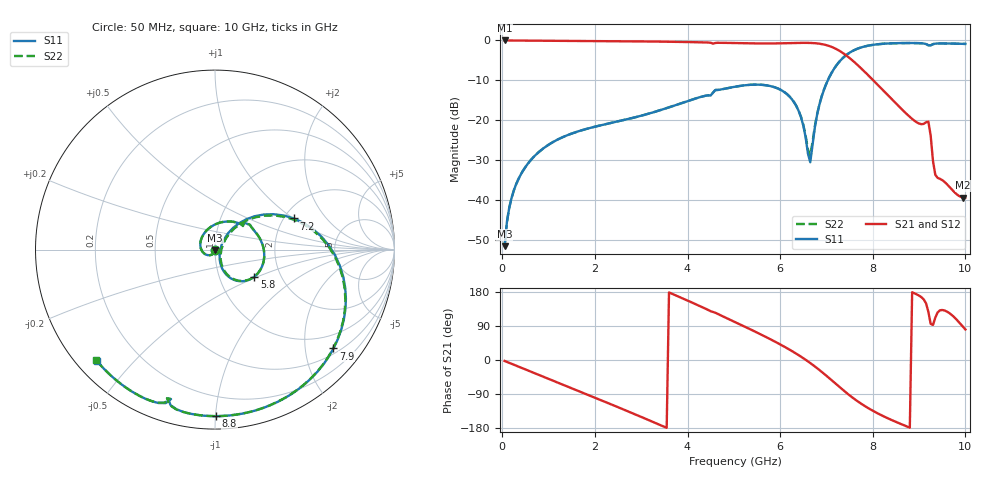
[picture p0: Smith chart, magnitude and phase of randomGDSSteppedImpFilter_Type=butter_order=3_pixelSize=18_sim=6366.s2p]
! freq	dB(S11)	phase(S11)	dB(S12)	phase(S12)
!  dB(S21)	phase(S21)	dB(S22)	phase(S22)
!S-par simulation data
#  GHz  S  DB  R 50
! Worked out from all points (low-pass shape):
!   200 points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, 50 MHz to 10 GHz, reference 50 ohm
!   highest |S21| = -0.01 dB at 50 MHz (marker M1); lowest = -39.5 dB at 9.95 GHz (marker M2)
!   |S21| within 3 dB of the highest: start of sweep to 7.335 GHz
!   lowest |S11| = -51.7 dB at 50 MHz (marker M3), VSWR 1.01, Z = 50 - j0.26 ohm
!   |S11| at or under -10 dB: start of sweep to 7.03 GHz
!   |S22| runs from -51.7 to -0.7 dB; largest |S21 - S12| = 0
!   S11 on the Smith chart (normalised r, x): 50 MHz: 1.00, -0.01; 5.8 GHz: 1.47, -0.48; 7.2 GHz: 2.26, +1.01; 7.9 GHz: 0.62, -2.63; 8.8 GHz: 0.08, -1.00; 10 GHz: 0.06, -0.40
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0.05  -51.67 -85.0  -0.01 -2.5  -0.01 -2.5  -51.67 -85.0
0.2  -39.56 -98.1  -0.02 -10.0  -0.02 -10.0  -39.56 -98.1
0.5  -31.78 -114.8  -0.04 -24.8  -0.04 -24.8  -31.78 -114.7
1.75  -22.44 -178.7  -0.13 -86.8  -0.13 -86.8  -22.44 -178.6
2.5  -20.33 143.0  -0.19 -124.6  -0.19 -124.6  -20.33 143.3
3.4  -17.55 96.5  -0.30 -171.1  -0.30 -171.1  -17.55 96.9
4.15  -14.67 57.0  -0.44 148.7  -0.44 148.7  -14.67 57.3
5.05  -11.58 8.2  -0.67 98.8  -0.67 98.8  -11.57 8.6
5.8  -11.49 -34.5  -0.76 54.1  -0.76 54.1  -11.49 -33.9
6.35  -16.50 -66.1  -0.64 16.6  -0.64 16.6  -16.45 -64.3
6.65  -30.59 1.4  -0.63 -7.9  -0.63 -7.9  -28.97 -0.7
6.7  -26.14 38.9  -0.65 -12.4  -0.65 -12.4  -25.45 33.3
6.9  -13.98 47.5  -0.92 -31.5  -0.92 -31.5  -13.92 45.4
7.2  -6.51 21.5  -2.09 -62.8  -2.09 -62.8  -6.50 20.5
7.55  -2.73 -11.9  -4.91 -98.0  -4.91 -98.0  -2.73 -12.6
7.9  -1.31 -39.9  -8.73 -126.9  -8.73 -126.9  -1.31 -40.4
8.35  -0.75 -67.5  -14.04 -155.2  -14.04 -155.2  -0.75 -68.0
8.8  -0.65 -89.6  -19.20 -178.6  -19.20 -178.6  -0.65 -90.1
9.2  -1.21 -107.5  -20.38 127.2  -20.38 127.2  -1.21 -107.9
9.35  -0.81 -110.2  -33.72 111.7  -33.72 111.7  -0.81 -110.7
9.95  -0.86 -134.7  -39.45 87.4  -39.45 87.4  -0.86 -135.2
10  -0.87 -136.6  -39.45 80.6  -39.45 80.6  -0.88 -137.1
